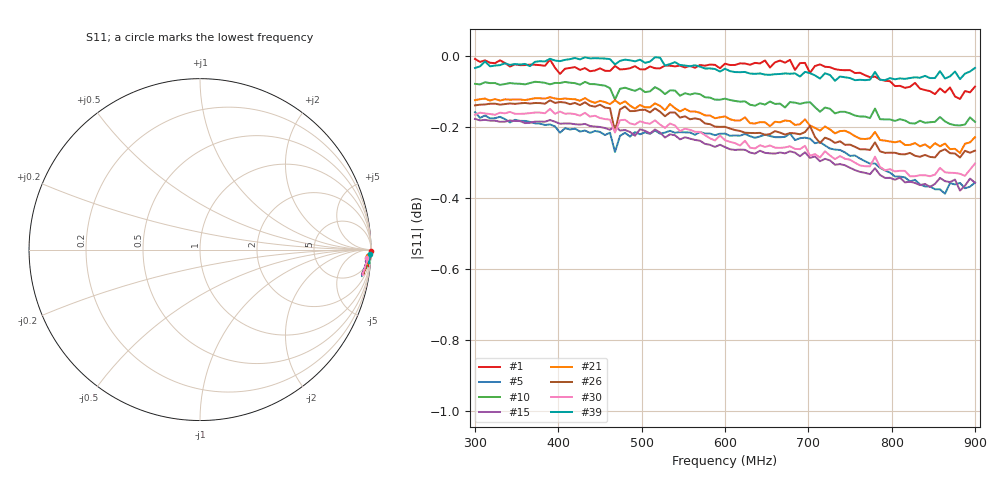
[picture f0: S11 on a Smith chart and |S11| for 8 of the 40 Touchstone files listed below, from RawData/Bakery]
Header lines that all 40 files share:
# HZ S RI R 50
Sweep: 300 MHz to 900 MHz
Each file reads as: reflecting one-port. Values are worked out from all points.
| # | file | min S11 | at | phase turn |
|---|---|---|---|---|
| 1 | A_1_1.s1p | -0.1 dB | 882 MHz | -5 deg |
| 2 | A_1_2.s1p | -0.1 dB | 882 MHz | -4 deg |
| 3 | A_1_3.s1p | -0.4 dB | 882 MHz | -8 deg |
| 4 | A_1_4.s1p | -0.3 dB | 882 MHz | -7 deg |
| 5 | A_1_5.s1p | -0.4 dB | 864 MHz | -7 deg |
| 6 | A_1_6.s1p | -0.1 dB | 864 MHz | -5 deg |
| 7 | A_1_7.s1p | -0.3 dB | 882 MHz | -7 deg |
| 8 | A_1_8.s1p | -0.3 dB | 876 MHz | -7 deg |
| 9 | A_1_9.s1p | -0.1 dB | 468 MHz | -5 deg |
| 10 | A_1_10.s1p | -0.2 dB | 882 MHz | -4 deg |
| 11 | A_2_1.s1p | -0.2 dB | 876 MHz | -4 deg |
| 12 | A_2_2.s1p | -0.2 dB | 846 MHz | -4 deg |
| 13 | A_2_3.s1p | -0.2 dB | 882 MHz | -4 deg |
| 14 | A_2_4.s1p | -0.2 dB | 888 MHz | -4 deg |
| 15 | A_2_5.s1p | -0.4 dB | 882 MHz | -6 deg |
| 16 | A_2_6.s1p | -0.2 dB | 882 MHz | -4 deg |
| 17 | A_2_7.s1p | -0.3 dB | 888 MHz | -5 deg |
| 18 | A_2_8.s1p | -0.3 dB | 888 MHz | -5 deg |
| 19 | A_2_9.s1p | -0.2 dB | 828 MHz | -4 deg |
| 20 | A_2_10.s1p | -0.2 dB | 840 MHz | -5 deg |
| 21 | A_3_1.s1p | -0.3 dB | 882 MHz | -5 deg |
| 22 | A_3_2.s1p | -0.2 dB | 882 MHz | -4 deg |
| 23 | A_3_3.s1p | -0.5 dB | 888 MHz | -7 deg |
| 24 | A_3_4.s1p | -0.2 dB | 882 MHz | -5 deg |
| 25 | A_3_5.s1p | -0.1 dB | 882 MHz | -3 deg |
| 26 | A_3_6.s1p | -0.3 dB | 882 MHz | -6 deg |
| 27 | A_3_7.s1p | -0.4 dB | 888 MHz | -7 deg |
| 28 | A_3_8.s1p | -0.1 dB | 822 MHz | -4 deg |
| 29 | A_3_9.s1p | -0.2 dB | 822 MHz | -5 deg |
| 30 | A_3_10.s1p | -0.3 dB | 822 MHz | -6 deg |
| 31 | B_1_1.s1p | -0.1 dB | 828 MHz | -4 deg |
| 32 | B_1_2.s1p | -0.1 dB | 828 MHz | -3 deg |
| 33 | B_1_3.s1p | -0.1 dB | 828 MHz | -3 deg |
| 34 | B_1_4.s1p | -0.1 dB | 828 MHz | -3 deg |
| 35 | B_1_5.s1p | -0.1 dB | 828 MHz | -3 deg |
| 36 | B_1_6.s1p | -0.1 dB | 828 MHz | -3 deg |
| 37 | B_1_7.s1p | -0.1 dB | 834 MHz | -3 deg |
| 38 | B_1_8.s1p | -0.1 dB | 828 MHz | -3 deg |
| 39 | B_1_9.s1p | -0.1 dB | 732 MHz | -3 deg |
| 40 | B_1_10.s1p | -0.1 dB | 828 MHz | -3 deg |
